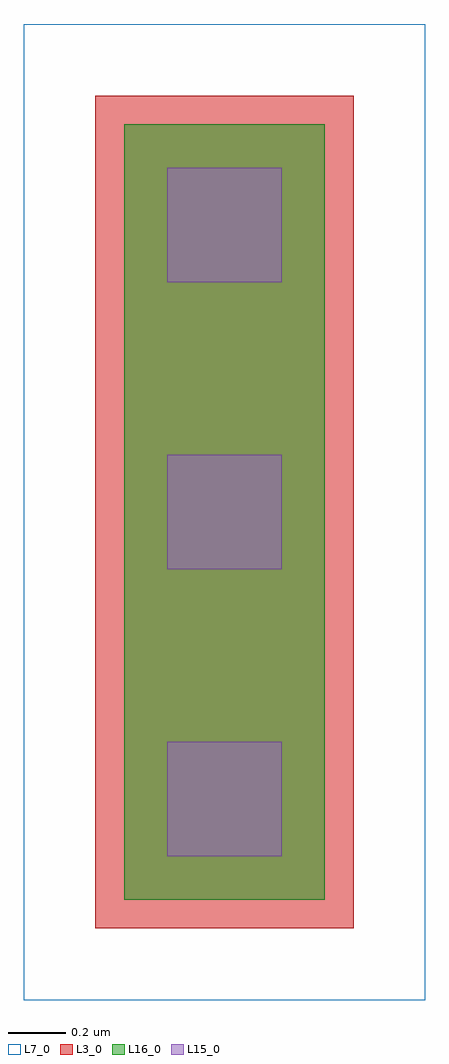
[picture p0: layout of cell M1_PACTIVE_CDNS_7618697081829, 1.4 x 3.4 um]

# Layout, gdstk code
import gdstk
lib = gdstk.Library(unit=1e-6, precision=1e-09)
def R(c, l, rs):  # rectangles x0, y0, x1, y1
    for r in rs: c.add(gdstk.rectangle(r[:2], r[2:], *l))
def A(c, l, x, y, w, h, nx, ny, dx, dy):  # array of equal rectangles
    R(c, l, [(x+i*dx, y+j*dy, x+i*dx+w, y+j*dy+h) for i in range(nx) for j in range(ny)])
L3_0 = (3, 0)
L7_0 = (7, 0)
L15_0 = (15, 0)
L16_0 = (16, 0)

m1_pactive_cdns_76186970 = lib.new_cell('M1_PACTIVE_CDNS_7618697081829')
R(m1_pactive_cdns_76186970, L3_0, [(-0.45,-1.45,0.45,1.45)])
R(m1_pactive_cdns_76186970, L7_0, [(-0.7,-1.7,0.7,1.7)])
A(m1_pactive_cdns_76186970, L15_0, -0.2, -1.2, 0.4, 0.4, 1, 3, 0, 1)
R(m1_pactive_cdns_76186970, L16_0, [(-0.35,-1.35,0.35,1.35)])

lib.write_gds('M1_PACTIVE_CDNS_7618697081829.gds')
